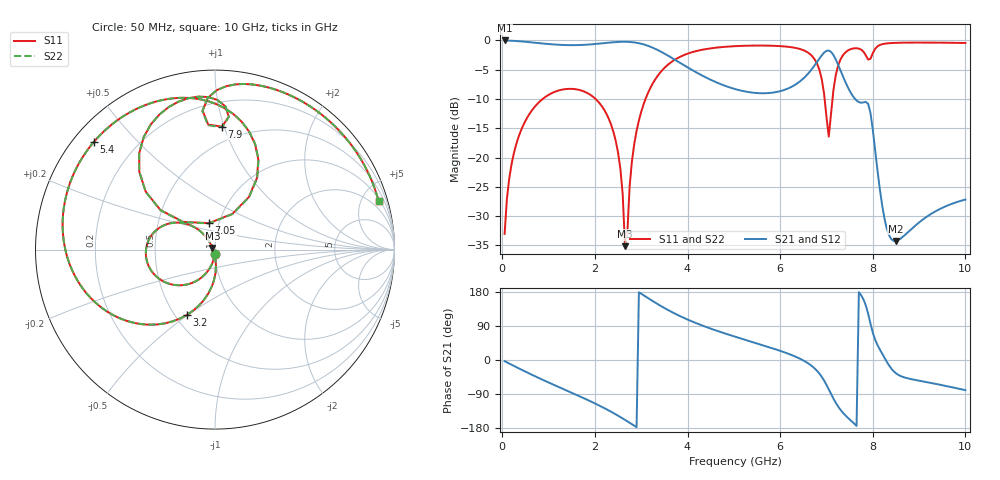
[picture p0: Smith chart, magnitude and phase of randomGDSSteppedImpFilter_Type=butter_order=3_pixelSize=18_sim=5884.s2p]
! freq	dB(S11)	phase(S11)	dB(S12)	phase(S12)
!  dB(S21)	phase(S21)	dB(S22)	phase(S22)
!S-par simulation data
#  GHz  S  DB  R 50
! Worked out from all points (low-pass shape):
!   200 points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, 50 MHz to 10 GHz, reference 50 ohm
!   highest |S21| = -0.01 dB at 50 MHz (marker M1); lowest = -34.2 dB at 8.5 GHz (marker M2)
!   |S21| within 3 dB of the highest: start of sweep to 3.666 GHz; 6.856 GHz to 7.184 GHz (328.7 MHz wide, 4.68 % of centre)
!   lowest |S11| = -35.1 dB at 2.65 GHz (marker M3), VSWR 1.04, Z = 48.5 + j0.934 ohm
!   |S11| at or under -10 dB: start of sweep to 872.2 MHz; 2.014 GHz to 3.093 GHz (1.079 GHz wide, 42.2 % of centre); 6.961 GHz to 7.132 GHz (170.9 MHz wide, 2.43 % of centre)
!   |S22| runs from -35.0 to -0.4 dB; largest |S21 - S12| = 0
!   S11 on the Smith chart (normalised r, x): 50 MHz: 1.00, -0.04; 3.2 GHz: 0.58, -0.50; 5.4 GHz: 0.06, +0.38; 7.05 GHz: 0.90, +0.27; 7.9 GHz: 0.38, +0.98; 10 GHz: 1.20, +6.73
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0.05  -33.03 -93.1  -0.01 -3.2  -0.01 -3.2  -33.03 -93.1
0.2  -21.12 -102.8  -0.05 -12.5  -0.05 -12.5  -21.12 -102.8
0.5  -13.72 -121.2  -0.23 -30.7  -0.23 -30.7  -13.72 -121.2
1.75  -8.67 169.7  -0.76 -100.2  -0.76 -100.2  -8.67 169.7
2.4  -15.62 132.0  -0.31 -140.0  -0.31 -140.0  -15.62 132.1
2.55  -21.93 125.1  -0.24 -150.6  -0.24 -150.6  -21.92 125.4
2.65  -35.13 146.7  -0.23 -158.0  -0.23 -158.0  -34.99 147.9
2.85  -17.66 -88.7  -0.34 -173.3  -0.34 -173.3  -17.65 -89.0
3.2  -8.07 -113.1  -1.08 159.2  -1.08 159.2  -8.07 -113.2
3.4  -5.59 -127.5  -1.82 144.3  -1.82 144.3  -5.59 -127.6
4.15  -1.90 -171.6  -5.28 99.1  -5.28 99.1  -1.90 -171.7
5.05  -0.97 151.0  -8.36 60.6  -8.36 60.6  -0.97 150.9
5.4  -0.88 138.2  -8.91 47.5  -8.91 47.5  -0.89 138.2
6.7  -2.76 78.2  -4.74 -17.4  -4.74 -17.4  -2.76 78.1
6.9  -6.69 59.7  -2.53 -44.7  -2.53 -44.7  -6.69 59.5
7.05  -16.42 102.6  -1.73 -77.4  -1.73 -77.4  -16.51 102.6
7.3  -3.30 128.1  -5.07 -130.9  -5.07 -130.9  -3.30 128.2
7.6  -1.35 100.0  -9.83 -168.0  -9.83 -168.0  -1.35 100.0
7.9  -3.27 86.7  -10.83 122.2  -10.83 122.2  -3.31 86.6
8.35  -0.47 75.2  -33.23 -14.0  -33.23 -14.0  -0.48 75.3
8.5  -0.41 68.7  -34.24 -35.0  -34.24 -35.0  -0.41 68.7
10  -0.44 16.4  -27.17 -79.6  -27.17 -79.6  -0.44 16.4
